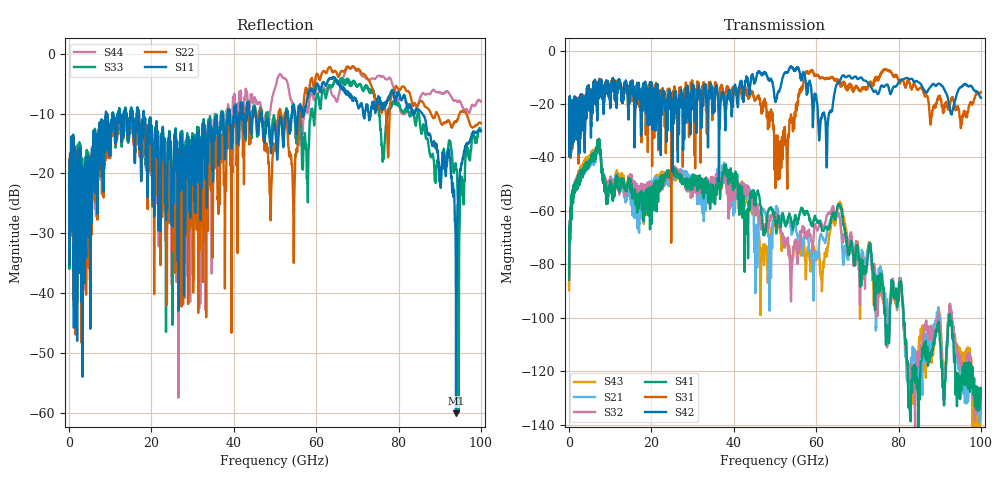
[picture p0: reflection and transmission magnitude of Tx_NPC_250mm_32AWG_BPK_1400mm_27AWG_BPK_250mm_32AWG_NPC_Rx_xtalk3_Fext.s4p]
! Info: Touchstone file created by Circ.  Input file=Tx_NPC_250mm_32AWG_BPK_1400mm_27AWG_BPK_250mm_32AWG_NPC_Rx.circ
# Hz S RI R 50
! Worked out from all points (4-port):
!   10000 points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, 10 MHz to 100 GHz, reference 50 ohm
!   strongest paths, dB at 10 MHz, 25.01 GHz, 50.01 GHz, 75.01 GHz, 100 GHz:
!     S42: -25.8, -19.4, -18.4, -16.3, -17.6
!     S31: -25.8, -23.9, -36.2, -10.4, -15.5
!     S41: -85.8, -44.8, -63.6, -88.9, -129.6
!     S32: -81.1, -44.7, -62.4, -94.6, -130.9
!     S21: -82.3, -46.7, -60.6, -85.6, -135.9
!     S43: -89.8, -45.7, -65.3, -91.5, -132.1
!   lowest |S11| = -60.1 dB at 93.97 GHz (marker M1), VSWR 1.00, Z = 49.9 + j0.0097 ohm
!   |S11| at or under -10 dB: start of sweep to 8.965 GHz; 18.15 GHz to 37.04 GHz (18.89 GHz wide, 68.4 % of centre); 85.77 GHz to end of sweep (the widest 3 of 44)
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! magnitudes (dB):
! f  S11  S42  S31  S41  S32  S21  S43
! 10 MHz  -21.7  -25.8  -25.8  -85.8  -81.1  -82.3  -89.8
! 6.96 GHz  -18.7  -14.8  -13.9  -34.3  -34.1  -34.9  -34.1
! 42.89 GHz  -11.3  -11.3  -15.8  -62.2  -54.4  -53.1  -56.6
! 51.16 GHz  -11.0  -14.5  -43.7  -63.8  -66.4  -64.6  -66.8
! 64.22 GHz  -4.1  -18.2  -10.2  -60.8  -58.6  -60.0  -62.1
! 93.97 GHz  -60.1  -17.1  -21.6  -122.9  -110.4  -111.9  -111.0
! 100 GHz  -12.9  -17.6  -15.5  -129.6  -130.9  -135.9  -132.1
